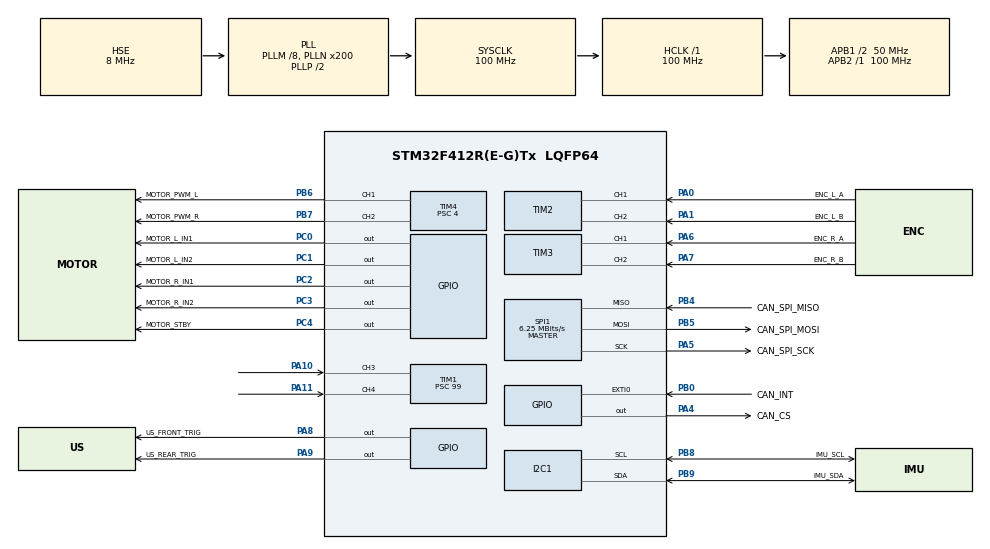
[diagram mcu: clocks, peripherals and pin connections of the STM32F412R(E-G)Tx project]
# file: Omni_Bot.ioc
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FREERTOS.Tasks01=defaultTask,24,128,StartDefaultTask,Default,NULL,Dynamic,NULL,NULL;controlTask,48,256,StartControlTask,Default,NULL,Dynamic,NULL,NULL;commsTask,40,256,StartCommsTask,Default,NULL,Dynamic,NULL,NULL;safetyTask,8,256,StartSafetyTask,Default,NULL,Dynamic,NULL,NULL
FREERTOS.configUSE_NEWLIB_REENTRANT=1
I2C1.I2C_Mode=I2C_Fast
Mcu.Family=STM32F4
Mcu.Name=STM32F412R(E-G)Tx
Mcu.Package=LQFP64
NVIC.PriorityGroup=NVIC_PRIORITYGROUP_4
NVIC.TIM1_CC_IRQn=true\:5\:0\:false\:false\:true\:true\:true\:true\:true
NVIC.TIM5_IRQn=true\:15\:0\:false\:false\:true\:false\:false\:true\:true
NVIC.TimeBase=TIM5_IRQn
NVIC.TimeBaseIP=TIM5
PA0.GPIO_Label=ENC_L_A
PA0.Signal=S_TIM2_CH1_ETR
PA1.GPIO_Label=ENC_L_B
PA1.Signal=S_TIM2_CH2
PA10.Signal=S_TIM1_CH3
PA11.Signal=S_TIM1_CH4
PA13.Mode=Serial_Wire
PA13.Signal=SYS_JTMS-SWDIO
PA14.Mode=Serial_Wire
PA14.Signal=SYS_JTCK-SWCLK
PA4.GPIO_Label=CAN_CS
PA4.Signal=GPIO_Output
PA5.GPIO_Label=CAN_SPI_SCK
PA5.Mode=Full_Duplex_Master
PA5.Signal=SPI1_SCK
PA6.GPIO_Label=ENC_R_A
PA6.Signal=S_TIM3_CH1
PA7.GPIO_Label=ENC_R_B
PA7.Signal=S_TIM3_CH2
PA8.GPIO_Label=US_FRONT_TRIG
PA8.Signal=GPIO_Output
PA9.GPIO_Label=US_REAR_TRIG
PA9.Signal=GPIO_Output
PB0.GPIO_Label=CAN_INT
PB0.Signal=GPXTI0
PB4.GPIO_Label=CAN_SPI_MISO
PB4.Mode=Full_Duplex_Master
PB4.Signal=SPI1_MISO
PB5.GPIO_Label=CAN_SPI_MOSI
PB5.Mode=Full_Duplex_Master
PB5.Signal=SPI1_MOSI
PB6.GPIO_Label=MOTOR_PWM_L
PB6.Signal=S_TIM4_CH1
PB7.GPIO_Label=MOTOR_PWM_R
PB7.Signal=S_TIM4_CH2
PB8.GPIO_Label=IMU_SCL
PB8.Mode=I2C
PB8.Signal=I2C1_SCL
PB9.GPIO_Label=IMU_SDA
PB9.Mode=I2C
PB9.Signal=I2C1_SDA
PC0.GPIO_Label=MOTOR_L_IN1
PC0.Signal=GPIO_Output
PC1.GPIO_Label=MOTOR_L_IN2
PC1.Signal=GPIO_Output
PC2.GPIO_Label=MOTOR_R_IN1
PC2.Signal=GPIO_Output
PC3.GPIO_Label=MOTOR_R_IN2
PC3.Signal=GPIO_Output
PC4.GPIO_Label=MOTOR_STBY
PC4.Signal=GPIO_Output
PH0\ -\ OSC_IN.Mode=HSE-External-Oscillator
PH0\ -\ OSC_IN.Signal=RCC_OSC_IN
PH1\ -\ OSC_OUT.Mode=HSE-External-Oscillator
PH1\ -\ OSC_OUT.Signal=RCC_OSC_OUT
ProjectManager.HeapSize=0x200
ProjectManager.StackSize=0x400
ProjectManager.TargetToolchain=STM32CubeIDE
RCC.AHBFreq_Value=100000000
RCC.APB1CLKDivider=RCC_HCLK_DIV2
RCC.APB1Freq_Value=50000000
RCC.APB1TimFreq_Value=100000000
RCC.APB2Freq_Value=100000000
RCC.APB2TimFreq_Value=100000000
RCC.CortexFreq_Value=100000000
RCC.HCLKFreq_Value=100000000
RCC.HSE_VALUE=8000000
RCC.PLLM=8
RCC.PLLN=200
RCC.PLLSourceVirtual=RCC_PLLSOURCE_HSE
RCC.SYSCLKFreq_VALUE=100000000
RCC.SYSCLKSource=RCC_SYSCLKSOURCE_PLLCLK
RCC.USBFreq_Value=100000000
RCC.VCOOutputFreq_Value=200000000
SH.S_TIM1_CH3.0=TIM1_CH3,Input_Capture3_from_TI3
SH.S_TIM1_CH4.0=TIM1_CH4,Input_Capture4_from_TI4
SH.S_TIM2_CH1_ETR.0=TIM2_CH1,Encoder_Interface
SH.S_TIM2_CH2.0=TIM2_CH2,Encoder_Interface
SH.S_TIM3_CH1.0=TIM3_CH1,Encoder_Interface
SH.S_TIM3_CH2.0=TIM3_CH2,Encoder_Interface
SH.S_TIM4_CH1.0=TIM4_CH1,PWM Generation1 CH1
SH.S_TIM4_CH2.0=TIM4_CH2,PWM Generation2 CH2
SPI1.BaudRatePrescaler=SPI_BAUDRATEPRESCALER_16
SPI1.CalculateBaudRate=6.25 MBits/s
SPI1.Direction=SPI_DIRECTION_2LINES
SPI1.Mode=SPI_MODE_MASTER
SPI1.VirtualType=VM_MASTER
TIM1.Channel-Input_Capture3_from_TI3=TIM_CHANNEL_3
TIM1.Channel-Input_Capture4_from_TI4=TIM_CHANNEL_4
TIM1.ICPolarity_CH3=TIM_INPUTCHANNELPOLARITY_BOTHEDGE
TIM1.ICPolarity_CH4=TIM_INPUTCHANNELPOLARITY_BOTHEDGE
TIM1.Prescaler=99
TIM2.EncoderMode=TIM_ENCODERMODE_TI12
TIM3.EncoderMode=TIM_ENCODERMODE_TI12
TIM4.Channel-PWM\ Generation1\ CH1=TIM_CHANNEL_1
TIM4.Channel-PWM\ Generation2\ CH2=TIM_CHANNEL_2
TIM4.Period=999
TIM4.Prescaler=4
VP_FREERTOS_VS_CMSIS_V2.Mode=CMSIS_V2
VP_SYS_VS_tim5.Mode=TIM5
VP_TIM1_VS_ClockSourceINT.Mode=Internal
VP_TIM4_VS_ClockSourceINT.Mode=Internal
board=custom

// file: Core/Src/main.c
/* USER CODE BEGIN Header */
/**
 ******************************************************************************
 * @file           : main.c
 * @brief          : Main program body
 ******************************************************************************
 * @attention
 *
 * Copyright (c) 2026 STMicroelectronics.
 * All rights reserved.
 *
 * This software is licensed under terms that can be found in the LICENSE file
 * in the root directory of this software component.
 * If no LICENSE file comes with this software, it is provided AS-IS.
 *
 ******************************************************************************
 */
/* USER CODE END Header */
#include "main.h"
#include "cmsis_os.h"

/* USER CODE BEGIN Includes */
#include "CAN_TxTask.h"
#include "ControlTask.h"
#include "SafetyWatchdogTask.h"
#include "freeRTOS_tasks.h"
#include "FreeRTOS.h"
#include "queue.h"
#include "task.h"
/* USER CODE END Includes */

I2C_HandleTypeDef hi2c1;

SPI_HandleTypeDef hspi1;

TIM_HandleTypeDef htim1;
TIM_HandleTypeDef htim2;
TIM_HandleTypeDef htim3;
TIM_HandleTypeDef htim4;

/* Definitions for defaultTask */
osThreadId_t defaultTaskHandle;
const osThreadAttr_t defaultTask_attributes = { .name = "defaultTask",
		.stack_size = 128 * 4, .priority = (osPriority_t) osPriorityNormal, };
/* Definitions for controlTask */
osThreadId_t controlTaskHandle;
const osThreadAttr_t controlTask_attributes = { .name = "controlTask",
		.stack_size = 256 * 4, .priority = (osPriority_t) osPriorityRealtime, };
/* Definitions for commsTask */
osThreadId_t commsTaskHandle;
const osThreadAttr_t commsTask_attributes = { .name = "commsTask", .stack_size =
		256 * 4, .priority = (osPriority_t) osPriorityHigh, };
/* Definitions for safetyTask */
osThreadId_t safetyTaskHandle;
const osThreadAttr_t safetyTask_attributes = { .name = "safetyTask",
		.stack_size = 256 * 4, .priority = (osPriority_t) osPriorityLow, };
/* USER CODE BEGIN PV */

// Concrete allocation of our inter-task communication lines
QueueHandle_t NavigationQueue = NULL;
QueueHandle_t TelemetryQueue = NULL;

// Global atomic states
volatile uint8_t system_errors = FAULT_NONE;
volatile RobotState_t current_robot_state = STATE_INITIALIZING;

/* USER CODE END PV */

void SystemClock_Config(void);
static void MX_GPIO_Init(void);
static void MX_I2C1_Init(void);
static void MX_SPI1_Init(void);
static void MX_TIM2_Init(void);
static void MX_TIM3_Init(void);
static void MX_TIM4_Init(void);
static void MX_TIM1_Init(void);
void StartDefaultTask(void *argument);
void StartControlTask(void *argument);
void StartCommsTask(void *argument);
void StartSafetyTask(void *argument);

int main(void) {

	/* MCU Configuration--------------------------------------------------------*/

	/* Reset of all peripherals, Initializes the Flash interface and the Systick. */
	HAL_Init();

	/* Configure the system clock */
	SystemClock_Config();

	/* Initialize all configured peripherals */
	MX_GPIO_Init();
	MX_I2C1_Init();
	MX_SPI1_Init();
	MX_TIM2_Init();
	MX_TIM3_Init();
	MX_TIM4_Init();
	MX_TIM1_Init();

	/* Init scheduler */
	osKernelInitialize();

	/* USER CODE BEGIN RTOS_QUEUES */
	/* add queues, ... */

	// Create the Navigation Queue (Holds 5 navigation command structures max)
	  NavigationQueue = xQueueCreate(5, sizeof(NavCommand_t));
	  if (NavigationQueue == NULL) {
	      // Hardware initialisation fault handler
	      Error_Handler();
	  }

	  // Create the Telemetry Queue (Holds 5 telemetry payload updates max)
	  TelemetryQueue = xQueueCreate(5, sizeof(TelemetryData_t));
	  if (TelemetryQueue == NULL) {
	      Error_Handler();
	  }

	/* USER CODE END RTOS_QUEUES */

	/* Create the thread(s) */
	/* creation of defaultTask */
	defaultTaskHandle = osThreadNew(StartDefaultTask, NULL,
			&defaultTask_attributes);

	/* creation of controlTask */
	controlTaskHandle = osThreadNew(StartControlTask, NULL,
			&controlTask_attributes);

	/* creation of commsTask */
	commsTaskHandle = osThreadNew(StartCommsTask, NULL, &commsTask_attributes);

	/* creation of safetyTask */
	safetyTaskHandle = osThreadNew(StartSafetyTask, NULL,
			&safetyTask_attributes);

	/* Start scheduler */
	osKernelStart();

	/* We should never get here as control is now taken by the scheduler */

	/* Infinite loop */
	while (1) {

	}
}

void SystemClock_Config(void) {
	RCC_OscInitTypeDef RCC_OscInitStruct = { 0 };
	RCC_ClkInitTypeDef RCC_ClkInitStruct = { 0 };

	/** Configure the main internal regulator output voltage
	 */
	__HAL_RCC_PWR_CLK_ENABLE();
	__HAL_PWR_VOLTAGESCALING_CONFIG(PWR_REGULATOR_VOLTAGE_SCALE1);

	/** Initializes the RCC Oscillators according to the specified parameters
	 * in the RCC_OscInitTypeDef structure.
	 */
	RCC_OscInitStruct.OscillatorType = RCC_OSCILLATORTYPE_HSE;
	RCC_OscInitStruct.HSEState = RCC_HSE_ON;
	RCC_OscInitStruct.PLL.PLLState = RCC_PLL_ON;
	RCC_OscInitStruct.PLL.PLLSource = RCC_PLLSOURCE_HSE;
	RCC_OscInitStruct.PLL.PLLM = 8;
	RCC_OscInitStruct.PLL.PLLN = 200;
	RCC_OscInitStruct.PLL.PLLP = RCC_PLLP_DIV2;
	RCC_OscInitStruct.PLL.PLLQ = 2;
	RCC_OscInitStruct.PLL.PLLR = 2;
	if (HAL_RCC_OscConfig(&RCC_OscInitStruct) != HAL_OK) {
		Error_Handler();
	}

	/** Initializes the CPU, AHB and APB buses clocks
	 */
	RCC_ClkInitStruct.ClockType = RCC_CLOCKTYPE_HCLK | RCC_CLOCKTYPE_SYSCLK
			| RCC_CLOCKTYPE_PCLK1 | RCC_CLOCKTYPE_PCLK2;
	RCC_ClkInitStruct.SYSCLKSource = RCC_SYSCLKSOURCE_PLLCLK;
	RCC_ClkInitStruct.AHBCLKDivider = RCC_SYSCLK_DIV1;
	RCC_ClkInitStruct.APB1CLKDivider = RCC_HCLK_DIV2;
	RCC_ClkInitStruct.APB2CLKDivider = RCC_HCLK_DIV1;

	if (HAL_RCC_ClockConfig(&RCC_ClkInitStruct, FLASH_LATENCY_3) != HAL_OK) {
		Error_Handler();
	}
}

static void MX_I2C1_Init(void) {

	hi2c1.Instance = I2C1;
	hi2c1.Init.ClockSpeed = 400000;
	hi2c1.Init.DutyCycle = I2C_DUTYCYCLE_2;
	hi2c1.Init.OwnAddress1 = 0;
	hi2c1.Init.AddressingMode = I2C_ADDRESSINGMODE_7BIT;
	hi2c1.Init.DualAddressMode = I2C_DUALADDRESS_DISABLE;
	hi2c1.Init.OwnAddress2 = 0;
	hi2c1.Init.GeneralCallMode = I2C_GENERALCALL_DISABLE;
	hi2c1.Init.NoStretchMode = I2C_NOSTRETCH_DISABLE;
	if (HAL_I2C_Init(&hi2c1) != HAL_OK) {
		Error_Handler();
	}

}

static void MX_SPI1_Init(void) {

	/* SPI1 parameter configuration*/
	hspi1.Instance = SPI1;
	hspi1.Init.Mode = SPI_MODE_MASTER;
	hspi1.Init.Direction = SPI_DIRECTION_2LINES;
	hspi1.Init.DataSize = SPI_DATASIZE_8BIT;
	hspi1.Init.CLKPolarity = SPI_POLARITY_LOW;
	hspi1.Init.CLKPhase = SPI_PHASE_1EDGE;
	hspi1.Init.NSS = SPI_NSS_SOFT;
	hspi1.Init.BaudRatePrescaler = SPI_BAUDRATEPRESCALER_16;
	hspi1.Init.FirstBit = SPI_FIRSTBIT_MSB;
	hspi1.Init.TIMode = SPI_TIMODE_DISABLE;
	hspi1.Init.CRCCalculation = SPI_CRCCALCULATION_DISABLE;
	hspi1.Init.CRCPolynomial = 10;
	if (HAL_SPI_Init(&hspi1) != HAL_OK) {
		Error_Handler();
	}

}

static void MX_TIM1_Init(void) {

	TIM_ClockConfigTypeDef sClockSourceConfig = { 0 };
	TIM_MasterConfigTypeDef sMasterConfig = { 0 };
	TIM_IC_InitTypeDef sConfigIC = { 0 };

	htim1.Instance = TIM1;
	htim1.Init.Prescaler = 99;
	htim1.Init.CounterMode = TIM_COUNTERMODE_UP;
	htim1.Init.Period = 65535;
	htim1.Init.ClockDivision = TIM_CLOCKDIVISION_DIV1;
	htim1.Init.RepetitionCounter = 0;
	htim1.Init.AutoReloadPreload = TIM_AUTORELOAD_PRELOAD_DISABLE;
	if (HAL_TIM_Base_Init(&htim1) != HAL_OK) {
		Error_Handler();
	}
	sClockSourceConfig.ClockSource = TIM_CLOCKSOURCE_INTERNAL;
	if (HAL_TIM_ConfigClockSource(&htim1, &sClockSourceConfig) != HAL_OK) {
		Error_Handler();
	}
	if (HAL_TIM_IC_Init(&htim1) != HAL_OK) {
		Error_Handler();
	}
	sMasterConfig.MasterOutputTrigger = TIM_TRGO_RESET;
	sMasterConfig.MasterSlaveMode = TIM_MASTERSLAVEMODE_DISABLE;
	if (HAL_TIMEx_MasterConfigSynchronization(&htim1, &sMasterConfig)
			!= HAL_OK) {
		Error_Handler();
	}
	sConfigIC.ICPolarity = TIM_INPUTCHANNELPOLARITY_BOTHEDGE;
	sConfigIC.ICSelection = TIM_ICSELECTION_DIRECTTI;
	sConfigIC.ICPrescaler = TIM_ICPSC_DIV1;
	sConfigIC.ICFilter = 0;
	if (HAL_TIM_IC_ConfigChannel(&htim1, &sConfigIC, TIM_CHANNEL_3) != HAL_OK) {
		Error_Handler();
	}
	if (HAL_TIM_IC_ConfigChannel(&htim1, &sConfigIC, TIM_CHANNEL_4) != HAL_OK) {
		Error_Handler();
	}

}

static void MX_TIM2_Init(void) {

	TIM_Encoder_InitTypeDef sConfig = { 0 };
	TIM_MasterConfigTypeDef sMasterConfig = { 0 };

	htim2.Instance = TIM2;
	htim2.Init.Prescaler = 0;
	htim2.Init.CounterMode = TIM_COUNTERMODE_UP;
	htim2.Init.Period = 4294967295;
	htim2.Init.ClockDivision = TIM_CLOCKDIVISION_DIV1;
	htim2.Init.AutoReloadPreload = TIM_AUTORELOAD_PRELOAD_DISABLE;
	sConfig.EncoderMode = TIM_ENCODERMODE_TI12;
	sConfig.IC1Polarity = TIM_ICPOLARITY_RISING;
	sConfig.IC1Selection = TIM_ICSELECTION_DIRECTTI;
	sConfig.IC1Prescaler = TIM_ICPSC_DIV1;
	sConfig.IC1Filter = 0;
	sConfig.IC2Polarity = TIM_ICPOLARITY_RISING;
	sConfig.IC2Selection = TIM_ICSELECTION_DIRECTTI;
	sConfig.IC2Prescaler = TIM_ICPSC_DIV1;
	sConfig.IC2Filter = 0;
	if (HAL_TIM_Encoder_Init(&htim2, &sConfig) != HAL_OK) {
		Error_Handler();
	}
	sMasterConfig.MasterOutputTrigger = TIM_TRGO_RESET;
	sMasterConfig.MasterSlaveMode = TIM_MASTERSLAVEMODE_DISABLE;
	if (HAL_TIMEx_MasterConfigSynchronization(&htim2, &sMasterConfig)
			!= HAL_OK) {
		Error_Handler();
	}

}

static void MX_TIM3_Init(void) {

	TIM_Encoder_InitTypeDef sConfig = { 0 };
	TIM_MasterConfigTypeDef sMasterConfig = { 0 };

	htim3.Instance = TIM3;
	htim3.Init.Prescaler = 0;
	htim3.Init.CounterMode = TIM_COUNTERMODE_UP;
	htim3.Init.Period = 65535;
	htim3.Init.ClockDivision = TIM_CLOCKDIVISION_DIV1;
	htim3.Init.AutoReloadPreload = TIM_AUTORELOAD_PRELOAD_DISABLE;
	sConfig.EncoderMode = TIM_ENCODERMODE_TI12;
	sConfig.IC1Polarity = TIM_ICPOLARITY_RISING;
	sConfig.IC1Selection = TIM_ICSELECTION_DIRECTTI;
	sConfig.IC1Prescaler = TIM_ICPSC_DIV1;
	sConfig.IC1Filter = 0;
	sConfig.IC2Polarity = TIM_ICPOLARITY_RISING;
	sConfig.IC2Selection = TIM_ICSELECTION_DIRECTTI;
	sConfig.IC2Prescaler = TIM_ICPSC_DIV1;
	sConfig.IC2Filter = 0;
	if (HAL_TIM_Encoder_Init(&htim3, &sConfig) != HAL_OK) {
		Error_Handler();
	}
	sMasterConfig.MasterOutputTrigger = TIM_TRGO_RESET;
	sMasterConfig.MasterSlaveMode = TIM_MASTERSLAVEMODE_DISABLE;
	if (HAL_TIMEx_MasterConfigSynchronization(&htim3, &sMasterConfig)
			!= HAL_OK) {
		Error_Handler();
	}

}

static void MX_TIM4_Init(void) {

	TIM_ClockConfigTypeDef sClockSourceConfig = { 0 };
	TIM_MasterConfigTypeDef sMasterConfig = { 0 };
	TIM_OC_InitTypeDef sConfigOC = { 0 };

	htim4.Instance = TIM4;
	htim4.Init.Prescaler = 4;
	htim4.Init.CounterMode = TIM_COUNTERMODE_UP;
	htim4.Init.Period = 999;
	htim4.Init.ClockDivision = TIM_CLOCKDIVISION_DIV1;
	htim4.Init.AutoReloadPreload = TIM_AUTORELOAD_PRELOAD_DISABLE;
	if (HAL_TIM_Base_Init(&htim4) != HAL_OK) {
		Error_Handler();
	}
	sClockSourceConfig.ClockSource = TIM_CLOCKSOURCE_INTERNAL;
	if (HAL_TIM_ConfigClockSource(&htim4, &sClockSourceConfig) != HAL_OK) {
		Error_Handler();
	}
	if (HAL_TIM_PWM_Init(&htim4) != HAL_OK) {
		Error_Handler();
	}
	sMasterConfig.MasterOutputTrigger = TIM_TRGO_RESET;
	sMasterConfig.MasterSlaveMode = TIM_MASTERSLAVEMODE_DISABLE;
	if (HAL_TIMEx_MasterConfigSynchronization(&htim4, &sMasterConfig)
			!= HAL_OK) {
		Error_Handler();
	}
	sConfigOC.OCMode = TIM_OCMODE_PWM1;
	sConfigOC.Pulse = 0;
	sConfigOC.OCPolarity = TIM_OCPOLARITY_HIGH;
	sConfigOC.OCFastMode = TIM_OCFAST_DISABLE;
	if (HAL_TIM_PWM_ConfigChannel(&htim4, &sConfigOC, TIM_CHANNEL_1)
			!= HAL_OK) {
		Error_Handler();
	}
	if (HAL_TIM_PWM_ConfigChannel(&htim4, &sConfigOC, TIM_CHANNEL_2)
			!= HAL_OK) {
		Error_Handler();
	}
	HAL_TIM_MspPostInit(&htim4);

}

static void MX_GPIO_Init(void) {
	GPIO_InitTypeDef GPIO_InitStruct = { 0 };

	/* GPIO Ports Clock Enable */
	__HAL_RCC_GPIOH_CLK_ENABLE();
	__HAL_RCC_GPIOC_CLK_ENABLE();
	__HAL_RCC_GPIOA_CLK_ENABLE();
	__HAL_RCC_GPIOB_CLK_ENABLE();

	/*Configure GPIO pin Output Level */
	HAL_GPIO_WritePin(GPIOC,
			MOTOR_L_IN1_Pin | MOTOR_L_IN2_Pin | MOTOR_R_IN1_Pin
					| MOTOR_R_IN2_Pin | MOTOR_STBY_Pin, GPIO_PIN_RESET);

	/*Configure GPIO pin Output Level */
	HAL_GPIO_WritePin(GPIOA, CAN_CS_Pin | US_FRONT_TRIG_Pin | US_REAR_TRIG_Pin,
			GPIO_PIN_RESET);

	/*Configure GPIO pins : MOTOR_L_IN1_Pin MOTOR_L_IN2_Pin MOTOR_R_IN1_Pin MOTOR_R_IN2_Pin
	 MOTOR_STBY_Pin */
	GPIO_InitStruct.Pin = MOTOR_L_IN1_Pin | MOTOR_L_IN2_Pin | MOTOR_R_IN1_Pin
			| MOTOR_R_IN2_Pin | MOTOR_STBY_Pin;
	GPIO_InitStruct.Mode = GPIO_MODE_OUTPUT_PP;
	GPIO_InitStruct.Pull = GPIO_NOPULL;
	GPIO_InitStruct.Speed = GPIO_SPEED_FREQ_LOW;
	HAL_GPIO_Init(GPIOC, &GPIO_InitStruct);

	/*Configure GPIO pins : CAN_CS_Pin US_FRONT_TRIG_Pin US_REAR_TRIG_Pin */
	GPIO_InitStruct.Pin = CAN_CS_Pin | US_FRONT_TRIG_Pin | US_REAR_TRIG_Pin;
	GPIO_InitStruct.Mode = GPIO_MODE_OUTPUT_PP;
	GPIO_InitStruct.Pull = GPIO_NOPULL;
	GPIO_InitStruct.Speed = GPIO_SPEED_FREQ_LOW;
	HAL_GPIO_Init(GPIOA, &GPIO_InitStruct);

	/*Configure GPIO pin : CAN_INT_Pin */
	GPIO_InitStruct.Pin = CAN_INT_Pin;
	GPIO_InitStruct.Mode = GPIO_MODE_IT_RISING;
	GPIO_InitStruct.Pull = GPIO_NOPULL;
	HAL_GPIO_Init(CAN_INT_GPIO_Port, &GPIO_InitStruct);

}

void StartDefaultTask(void *argument) {
	for (;;) {
		osDelay(1);
	}
}

void StartControlTask(void *argument) {
	/* USER CODE BEGIN StartControlTask */

	// Hand over execution to your completely isolated C file
	controlTask();

	/* USER CODE END StartControlTask */
}

void StartCommsTask(void *argument) {
	/* USER CODE BEGIN StartCommsTask */

	// Hand over execution to your completely isolated C file
	can_TxTask();

	/* USER CODE END StartCommsTask */
}

void StartSafetyTask(void *argument) {
	/* USER CODE BEGIN StartSafetyTask */
	safetyWatchdogTask();
	/* USER CODE END StartSafetyTask */
}

void HAL_TIM_PeriodElapsedCallback(TIM_HandleTypeDef *htim) {
	if (htim->Instance == TIM5) {
		HAL_IncTick();
	}
}

void Error_Handler(void) {
	__disable_irq();
	while (1) {
	}
}
